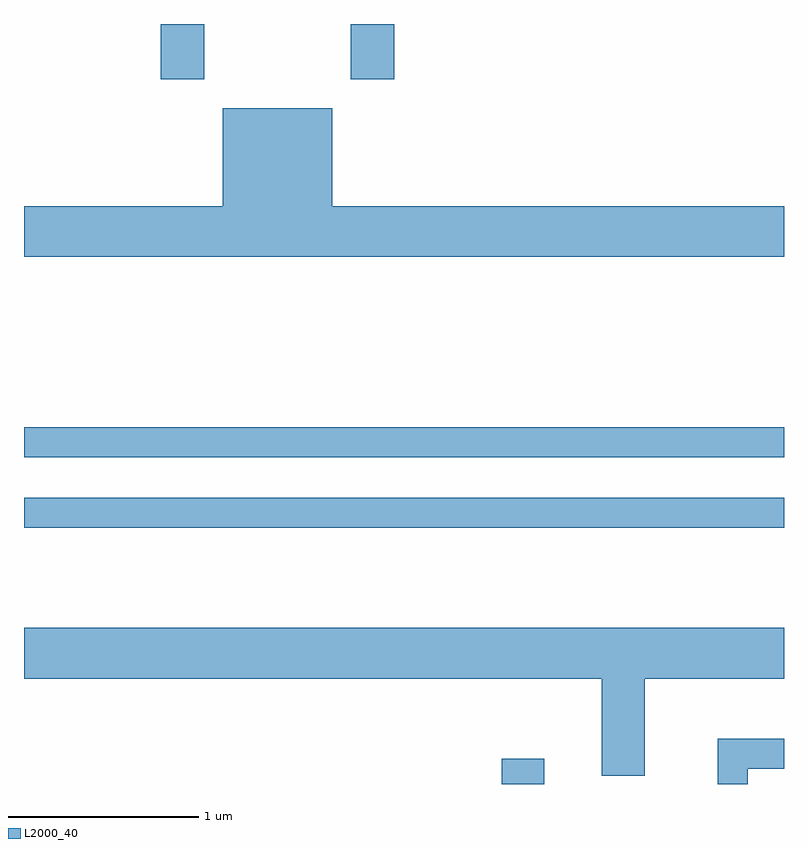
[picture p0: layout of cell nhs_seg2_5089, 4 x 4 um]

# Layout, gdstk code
import gdstk
lib = gdstk.Library(unit=1e-6, precision=1e-09)
def R(c, l, rs):  # rectangles x0, y0, x1, y1
    for r in rs: c.add(gdstk.rectangle(r[:2], r[2:], *l))
def P(c, l, *ps):  # polygons
    for p in ps: c.add(gdstk.Polygon(p, *l))
L2000_40 = (2000, 40)

nhs_seg2_5089 = lib.new_cell('nhs_seg2_5089')
R(nhs_seg2_5089, L2000_40, [(338.126,1007.802,338.349,1007.934), (335.611,1009.151,339.611,1009.309), (335.611,1009.521,339.611,1009.679), (336.331,1011.511,336.559,1011.802), (337.331,1011.511,337.559,1011.802)])
P(nhs_seg2_5089, L2000_40, [(339.611,1010.844),(337.234,1010.844),(337.234,1011.359),(336.656,1011.359),(336.656,1010.844),(335.611,1010.844),(335.611,1010.576),(339.611,1010.576)],
  [(338.879,1008.356),(339.611,1008.356),(339.611,1008.624),(335.611,1008.624),(335.611,1008.356),(338.651,1008.356),(338.651,1007.846),(338.879,1007.846)],
  [(339.419,1007.881),(339.611,1007.881),(339.611,1008.039),(339.261,1008.039),(339.261,1007.802),(339.419,1007.802)])

lib.write_gds('nhs_seg2_5089.gds')
